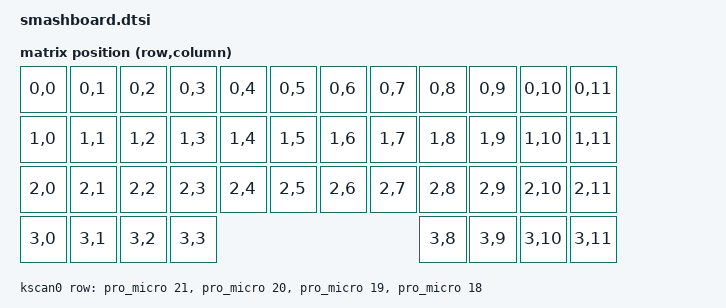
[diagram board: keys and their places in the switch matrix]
#include <dt-bindings/zmk/matrix_transform.h>

/ {
    chosen {
        zmk,kscan = &kscan0;
        zmk,matrix-transform = &default_transform;
    };

    default_transform: keymap_transform0 {
        compatible = "zmk,matrix-transform";
        columns = <12>;
        rows = <4>;
        map = <
        //   | Key 1  | Key 2  | Key 3  | Key 4  | Key 5  | Key 6  |
        //   | Key 7  | Key 8  | Key 9  | Key 10 | Key 11 | Key 12 |
        //   | Key 13 | Key 14 | Key 15 | Key 16 | Key 17 | Key 18 |
        //   |   Key 19  |   Key 20  |   Key 21  |      Key 22     |
            RC(0,0) RC(0,1) RC(0,2) RC(0,3) RC(0,4) RC(0,5)     RC(0,6) RC(0,7) RC(0,8) RC(0,9) RC(0,10) RC(0,11)
            RC(1,0) RC(1,1) RC(1,2) RC(1,3) RC(1,4) RC(1,5)     RC(1,6) RC(1,7) RC(1,8) RC(1,9) RC(1,10) RC(1,11)
            RC(2,0) RC(2,1) RC(2,2) RC(2,3) RC(2,4) RC(2,5)     RC(2,6) RC(2,7) RC(2,8) RC(2,9) RC(2,10) RC(2,11)
            RC(3,0) RC(3,1) RC(3,2) RC(3,3)                                     RC(3,8) RC(3,9) RC(3,10) RC(3,11)
        >;
    };

    kscan0: kscan0 {
        compatible = "zmk,kscan-gpio-matrix";
        diode-direction = "col2row";
        wakeup-source;

        row-gpios
            = <&pro_micro 21 (GPIO_ACTIVE_HIGH | GPIO_PULL_DOWN)>
            , <&pro_micro 20 (GPIO_ACTIVE_HIGH | GPIO_PULL_DOWN)>
            , <&pro_micro 19 (GPIO_ACTIVE_HIGH | GPIO_PULL_DOWN)>
            , <&pro_micro 18 (GPIO_ACTIVE_HIGH | GPIO_PULL_DOWN)>
            ;
    };
};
